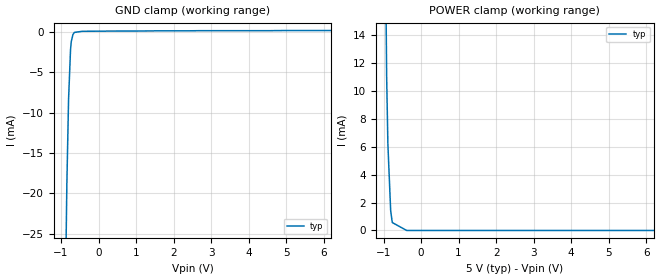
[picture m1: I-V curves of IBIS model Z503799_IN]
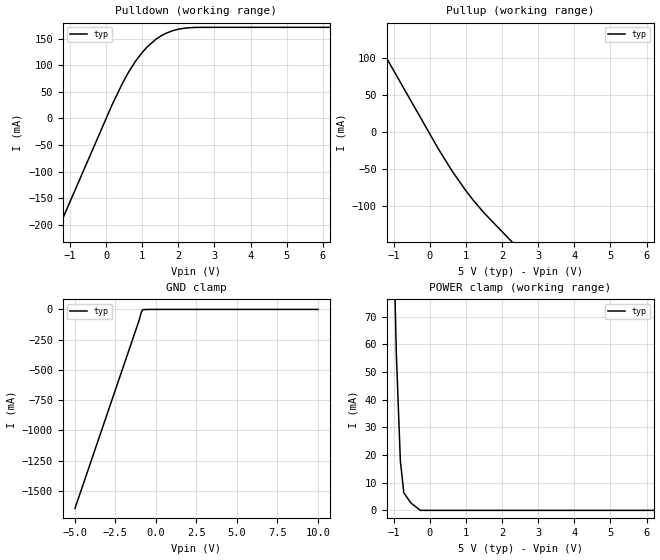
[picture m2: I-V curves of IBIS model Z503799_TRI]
| YOU ARE ONLY AUTHORIZED TO USE THIS SOFTWARE
| ACCORDING TO LICENSOR'S LICENSE RESTRICTIONS.
[IBIS Ver] 3.1
[File Name] mc74ac563n.ibs
[File Rev] 2.0
[Source] Measured and created by ICX Technology
[Date] Friday 7/14/00 9:08:00 AM
[Copyright]
| (C) COPYRIGHT 1993-2000
| MENTOR GRAPHICS CORPORATION
| ICX STANDARD LIBRARY, ICX PROJECT MODELING,
| ICX CUSTOM MODELING, ICX VENDOR MODEL
| ALL RIGHTS RESERVED.
| THE FOLLOWING ARE TRADEMARKS OR SERVICE MARKS OF
| MENTOR GRAPHICS CORPORATION:ICX (R), ICX STANDARD
| LIBRARY(R), ICX PROJECT MODELING(R), ICX CUSTOM
| MODELING(R), qualityIBIS(TM), MODELVIEWER(TM),
| AND MODELEDITOR(TM)
| ALL COPIES OF SOFTWARE, INCLUDING BUT NOT LIMITED TO
| ANY MODIFICATIONS, ENHANCEMENTS OR DERIVATIVE WORKS,
| MUST CONTAIN ALL MENTOR GRAPHICS CORPORATION'S
| NOTICES AND LEGENDS, INCLUDING THOSE EMBEDDED IN
| SOFTWARE AND THOSE AFFIXED TO SOFTWARE MEDIUM
| AND CONTAINER, AS RECEIVED FROM MENTOR GRAPHICS
| CORPORATION.
|  ZAP Model Builder 2.7
[Component] MC74AC563N
[Manufacturer] OnSemiconductor
[Package]
| variable   typ   min   max
R_pkg  .216ohms NA NA
L_pkg  5.76nH NA NA
C_pkg  1.29pF NA NA
[Pin] signal_name  model_name  R_pin  L_pin C_pin
1 _EN Z503799_IN .232 9.76n 1.87p
2 D0 Z503799_IN .224 7.26n 1.58p
3 D1 Z503799_IN .216 5.26n 1.29p
4 D2 Z503799_IN .208 3.76n 1.0p
5 D3 Z503799_IN .2 2.76n .71p
6 D4 Z503799_IN .2 2.76n .71p
7 D5 Z503799_IN .208 3.76n 1.0p
8 D6 Z503799_IN .216 5.26n 1.29p
9 D7 Z503799_IN .224 7.26n 1.58p
10 GND GND .232 9.76n 1.87p
11 CLK Z503799_IN .232 9.76n 1.87p
12 _Q7 Z503799_TRI .224 7.26n 1.58p
13 _Q6 Z503799_TRI .216 5.26n 1.29p
14 _Q5 Z503799_TRI .208 3.76n 1.0p
15 _Q4 Z503799_TRI .2 2.76n .71p
16 _Q3 Z503799_TRI .2 2.76n .71p
17 _Q2 Z503799_TRI .208 3.76n 1.0p
18 _Q1 Z503799_TRI .216 5.26n 1.29p
19 _Q0 Z503799_TRI .224 7.26n 1.58p
20 VCC POWER .232 9.76n 1.87p
| Models and submodels in the file (2): Z503799_IN (Input), Z503799_TRI (3-state)
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| (C) COPYRIGHT 1993-2000
| MENTOR GRAPHICS CORPORATION
| ICX STANDARD LIBRARY, ICX PROJECT MODELING,
| ICX CUSTOM MODELING, ICX VENDOR MODEL
| ALL RIGHTS RESERVED.
| THE FOLLOWING ARE TRADEMARKS OR SERVICE MARKS OF
| MENTOR GRAPHICS CORPORATION:ICX (R), ICX STANDARD
| LIBRARY(R), ICX PROJECT MODELING(R), ICX CUSTOM
| MODELING(R), qualityIBIS(TM), MODELVIEWER(TM),
| AND MODELEDITOR(TM)
| ALL COPIES OF SOFTWARE, INCLUDING BUT NOT LIMITED TO
| ANY MODIFICATIONS, ENHANCEMENTS OR DERIVATIVE WORKS,
| MUST CONTAIN ALL MENTOR GRAPHICS CORPORATION'S
| NOTICES AND LEGENDS, INCLUDING THOSE EMBEDDED IN
| SOFTWARE AND THOSE AFFIXED TO SOFTWARE MEDIUM
| AND CONTAINER, AS RECEIVED FROM MENTOR GRAPHICS
| CORPORATION.
| Model Application Version 1.89 2/18/99.
[Model] Z503799_IN
Model_type Input
Vinl = 1.500V
Vinh = 3.500V
C_comp 4.000pF NA NA
| variable typ   min   max
[Voltage Range] 5.000V NA NA
[GND Clamp Reference] 0.000V NA NA
[POWER Clamp Reference] 5.000V NA NA
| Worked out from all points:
|   GND clamp passes 1 mA (typ) near -0.72 V on its own axis
|   POWER clamp passes 1 mA (typ) near -0.79 V on its own axis
[GND Clamp]
-5V       -2.988A    NA         NA
-1.006V   -74.85mA   NA         NA
-845mV    -18.93mA   NA         NA
-799.3mV  -8.369mA   NA         NA
-747.1mV  -2.206mA   NA         NA
-728.2mV  -1.222mA   NA         NA
-684.4mV  -335.6uA   NA         NA
-645.1mV  -49.59uA   NA         NA
-430.1mV  87.69uA    NA         NA
1.563V    144.3uA    NA         NA
10V       183.2uA    NA         NA
[POWER Clamp]
-5V       2.769A     NA         NA
-1.177V   123mA      NA         NA
-1.025V   42.89mA    NA         NA
-917mV    11mA       NA         NA
-884mV    6.168mA    NA         NA
-810mV    1.425mA    NA         NA
-767mV    567.4uA    NA         NA
-383.5mV  0A         NA         NA
10V       0A         NA         NA
| (C) COPYRIGHT 1993-2000
| MENTOR GRAPHICS CORPORATION
| ICX STANDARD LIBRARY, ICX PROJECT MODELING,
| ICX CUSTOM MODELING, ICX VENDOR MODEL
| ALL RIGHTS RESERVED.
| THE FOLLOWING ARE TRADEMARKS OR SERVICE MARKS OF
| MENTOR GRAPHICS CORPORATION:ICX (R), ICX STANDARD
| LIBRARY(R), ICX PROJECT MODELING(R), ICX CUSTOM
| MODELING(R), qualityIBIS(TM), MODELVIEWER(TM),
| AND MODELEDITOR(TM)
| ALL COPIES OF SOFTWARE, INCLUDING BUT NOT LIMITED TO
| ANY MODIFICATIONS, ENHANCEMENTS OR DERIVATIVE WORKS,
| MUST CONTAIN ALL MENTOR GRAPHICS CORPORATION'S
| NOTICES AND LEGENDS, INCLUDING THOSE EMBEDDED IN
| SOFTWARE AND THOSE AFFIXED TO SOFTWARE MEDIUM
| AND CONTAINER, AS RECEIVED FROM MENTOR GRAPHICS
| CORPORATION.
| Model Application Version 1.89 2/18/99.
[Model] Z503799_TRI
Model_type 3-state
Vref=0.000V
Rref=500.0ohms
Cref=50.00pF
Vmeas=2.500V
C_comp 8.000pF NA NA
| variable typ   min   max
[Voltage Range] 5.000V NA NA
[POWER Clamp Reference] 5.000V NA NA
[Pullup Reference] 5.000V NA NA
[Pulldown Reference] 0.000V NA NA
[GND Clamp Reference] 0.000V NA NA
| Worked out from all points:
|   slope of the pulldown table from 0 to 0.75 V, typ, clamps not added: 7.43 ohm
|   slope of the pullup table from 0 to 0.75 V, typ, clamps not added: 12.6 ohm
[GND Clamp]
-5V       -1.647A    NA         NA
-1.046V   -93.98mA   NA         NA
-893.6mV  -20.7mA    NA         NA
-810.5mV  -1.991mA   NA         NA
-405.3mV  0A         NA         NA
10V       0A         NA         NA
[Pulldown]
-5V       -781.9mA   NA         NA
161.8mV   24.99mA    NA         NA
454.1mV   66.23mA    NA         NA
629.9mV   87.84mA    NA         NA
825.3mV   108.6mA    NA         NA
1.138V    134.4mA    NA         NA
1.382V    149mA      NA         NA
1.654V    159.9mA    NA         NA
2.018V    168mA      NA         NA
2.477V    171.1mA    NA         NA
10V       171.2mA    NA         NA
[Pullup]
-5V       424.9mA    NA         NA
239mV     -23.01mA   NA         NA
625mV     -53.26mA   NA         NA
996mV     -79.05mA   NA         NA
1.202V    -92.04mA   NA         NA
1.505V    -109.4mA   NA         NA
10V       -538.9mA   NA         NA
[POWER Clamp]
-5V       3.044A     NA         NA
-1.011V   102.7mA    NA         NA
-928mV    56.33mA    NA         NA
-817mV    17.93mA    NA         NA
-722mV    6.331mA    NA         NA
-525mV    2.665mA    NA         NA
-262.5mV  0A         NA         NA
10V       0A         NA         NA
[Ramp]
| variable typ min max
dV/dt_r 2.948/580.0p NA NA
dV/dt_f 2.948/750.9p NA NA
R_load = 500.0Ohms
